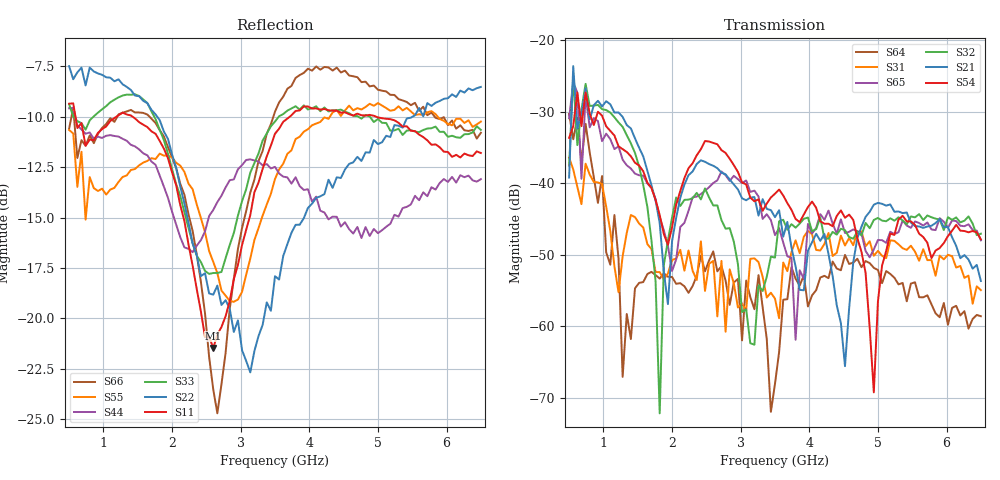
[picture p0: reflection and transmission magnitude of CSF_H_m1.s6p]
!Keysight Technologies,M9804A,MY58100912,A.14.10.03
!Date: Thursday, April 27, 2023 10:28:33
!Correction: S11(C  6-Port  )
!S12(C  6-Port  )
!S13(C  6-Port  )
!S14(C  6-Port  )
!S15(C  6-Port  )
!S16(C  6-Port  )
!S21(C  6-Port  )
!S22(C  6-Port  )
!S23(C  6-Port  )
!S24(C  6-Port  )
!S25(C  6-Port  )
!S26(C  6-Port  )
!S31(C  6-Port  )
!S32(C  6-Port  )
!S33(C  6-Port  )
!S34(C  6-Port  )
!S35(C  6-Port  )
!S36(C  6-Port  )
!S41(C  6-Port  )
!S42(C  6-Port  )
!S43(C  6-Port  )
!S44(C  6-Port  )
!S45(C  6-Port  )
!S46(C  6-Port  )
!S51(C  6-Port  )
!S52(C  6-Port  )
!S53(C  6-Port  )
!S54(C  6-Port  )
!S55(C  6-Port  )
!S56(C  6-Port  )
!S61(C  6-Port  )
!S62(C  6-Port  )
!S63(C  6-Port  )
!S64(C  6-Port  )
!S65(C  6-Port  )
!S66(C  6-Port  )
!S6P File: Measurement: :
# Hz S  RI  R 50
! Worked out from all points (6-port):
!   101 points, 500 MHz to 6.5 GHz, reference 50 ohm
!   strongest paths, dB at 500 MHz, 2 GHz, 3.5 GHz, 5 GHz, 6.5 GHz:
!     S54: -33.6, -46.1, -41.5, -56.5, -47.8
!     S21: -39.2, -48.1, -44.7, -42.7, -53.7
!     S32: -37.5, -44.8, -50.4, -44.8, -47.0
!     S65: -30.9, -52.3, -47.2, -47.9, -48.0
!     S31: -36.4, -50.7, -56.1, -49.5, -54.9
!     S64: -30.3, -53.1, -68.0, -52.1, -58.6
!   lowest |S11| = -21.5 dB at 2.6 GHz (marker M1), VSWR 1.18, Z = 42.5 + j2.2 ohm
!   |S11| at or under -10 dB: 592.8 MHz to 1.187 GHz (594.1 MHz wide, 66.8 % of centre); 1.428 GHz to 3.713 GHz (2.285 GHz wide, 88.9 % of centre); 4.977 GHz to end of sweep
